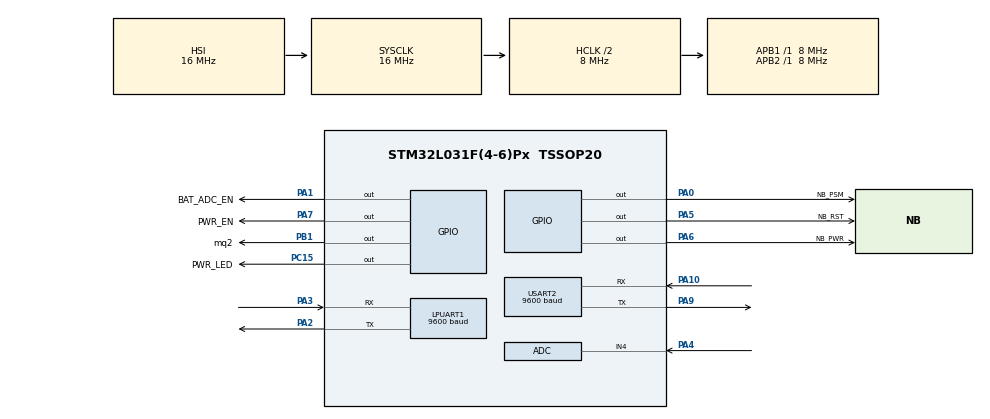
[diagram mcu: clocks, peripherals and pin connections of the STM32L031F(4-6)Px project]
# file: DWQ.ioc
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ADC.ContinuousConvMode=ENABLE
ADC.LowPowerAutoPowerOff=ENABLE
ADC.LowPowerAutoWait=ENABLE
ADC.SamplingTime=ADC_SAMPLETIME_160CYCLES_5
LPUART1.BaudRate=9600
LPUART1.WordLength=UART_WORDLENGTH_8B
Mcu.Family=STM32L0
Mcu.Name=STM32L031F(4-6)Px
Mcu.Package=TSSOP20
NVIC.LPUART1_IRQn=true\:0\:0\:false\:false\:true\:true\:true\:true
NVIC.USART2_IRQn=true\:0\:0\:false\:false\:true\:true\:true\:true
PA0-CK_IN.GPIO_Label=NB_PSM
PA0-CK_IN.Signal=GPIO_Output
PA1.GPIO_Label=BAT_ADC_EN
PA1.Signal=GPIO_Output
PA10.Mode=Asynchronous
PA10.Signal=USART2_RX
PA13.Mode=Serial_Wire
PA13.Signal=SYS_SWDIO
PA14.Mode=Serial_Wire
PA14.Signal=SYS_SWCLK
PA2.Mode=Asynchronous
PA2.Signal=LPUART1_TX
PA3.Mode=Asynchronous
PA3.Signal=LPUART1_RX
PA4.Mode=IN4
PA4.Signal=ADC_IN4
PA5.GPIO_Label=NB_RST
PA5.Signal=GPIO_Output
PA6.GPIO_Label=NB_PWR
PA6.Signal=GPIO_Output
PA7.GPIO_Label=PWR_EN
PA7.GPIO_PuPd=GPIO_PULLDOWN
PA7.GPIO_Speed=GPIO_SPEED_FREQ_MEDIUM
PA7.Signal=GPIO_Output
PA9.Mode=Asynchronous
PA9.Signal=USART2_TX
PB1.GPIO_Label=mq2
PB1.GPIO_ModeDefaultOutputPP=GPIO_MODE_OUTPUT_OD
PB1.GPIO_PuPd=GPIO_NOPULL
PB1.PinState=GPIO_PIN_SET
PB1.Signal=GPIO_Output
PC15-OSC32_OUT.GPIO_Label=PWR_LED
PC15-OSC32_OUT.GPIO_Speed=GPIO_SPEED_FREQ_LOW
PC15-OSC32_OUT.PinState=GPIO_PIN_SET
PC15-OSC32_OUT.Signal=GPIO_Output
ProjectManager.HeapSize=0x200
ProjectManager.StackSize=0x400
ProjectManager.TargetToolchain=MDK-ARM V5.27
RCC.AHBCLKDivider=RCC_SYSCLK_DIV2
RCC.AHBFreq_Value=8000000
RCC.APB1Freq_Value=8000000
RCC.APB1TimFreq_Value=8000000
RCC.APB2Freq_Value=8000000
RCC.APB2TimFreq_Value=8000000
RCC.HCLKFreq_Value=8000000
RCC.HSE_VALUE=8000000
RCC.HSI16_VALUE=16000000
RCC.HSI_VALUE=16000000
RCC.LSE_VALUE=32768
RCC.MSI_VALUE=2097000
RCC.SYSCLKFreq_VALUE=16000000
RCC.SYSCLKSource=RCC_SYSCLKSOURCE_HSI
RCC.VCOOutputFreq_Value=48000000
USART2.BaudRate=9600
USART2.VirtualMode-Asynchronous=VM_ASYNC
VP_ADC_Vref_Input.Mode=IN-Vrefint
board=custom

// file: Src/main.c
/* USER CODE BEGIN Header */
/**
  ******************************************************************************
  * @file           : main.c
  * @brief          : Main program body
  ******************************************************************************
  * @attention
  *
  * <h2><center>&copy; Copyright (c) 2020 STMicroelectronics.
  * All rights reserved.</center></h2>
  *
  * This software component is licensed by ST under BSD 3-Clause license,
  * the "License"; You may not use this file except in compliance with the
  * License. You may obtain a copy of the License at:
  *                        opensource.org/licenses/BSD-3-Clause
  *
  ******************************************************************************
  */
/* USER CODE END Header */

#include "main.h"

/* USER CODE BEGIN Includes */
#include "stdio.h"
#include "string.h"
/* USER CODE END Includes */

ADC_HandleTypeDef hadc;

UART_HandleTypeDef hlpuart1;
UART_HandleTypeDef huart2;

/* USER CODE BEGIN PV */
extern uint8_t Res2_Buf[256];
extern uint8_t Res2_Sign;
extern uint8_t Res2_Count;
extern uint8_t Res2;
extern uint8_t flg;

extern uint8_t Res1_Buf[256];
extern uint8_t Res1_Sign;
extern uint8_t Res1_Count;
extern uint8_t Res1;

uint16_t BAT_DATA;
float BAT_Value;
float VDDA_Value;
uint16_t VREFINT_CAL;
uint16_t VREFINT_DATA;
uint8_t BAT_Q;
uint8_t BAT_Q_Last;
uint8_t flg_last;
uint8_t NB_Signal_Value;

uint8_t NB_OBSERVERSP_CMD[50]="AT+MIPLOBSERVERSP=0,";
uint8_t NB_DISCOVERRSP_CMD[50]="AT+MIPLDISCOVERRSP=0,";
uint8_t NB_NOTIFY5700_CMD[60]="AT+MIPLNOTIFY=0,"; // 电池电量
uint8_t NB_NOTIFY5701_CMD[60]="AT+MIPLNOTIFY=0,"; // 烟雾程度
uint8_t NB_NOTIFY5513_CMD[60]="AT+MIPLNOTIFY=0,"; // 纬度
uint8_t NB_NOTIFY5514_CMD[60]="AT+MIPLNOTIFY=0,"; // 经度
uint8_t NB_NOTIFY_CMD[60]="AT+MIPLNOTIFY=0,"; // 经度

uint8_t NB_OB3320_count; // 响应订阅请求的ID值位数
uint8_t NB_OB3336_count;
uint8_t NB_OB3325_count;
uint8_t onenet_ok=0;
uint32_t temp_int;
float temp_float;
uint32_t weidu_int; // 获取纬度的dd
float weidu_float; // 获取纬度的mm
uint32_t jingdu_int; // 获取经度的dd
float jingdu_float; // 获取经度的mm
uint8_t shutdown=0;
/* USER CODE END PV */

void SystemClock_Config(void);
static void MX_GPIO_Init(void);
static void MX_ADC_Init(void);
static void MX_LPUART1_UART_Init(void);
static void MX_USART2_UART_Init(void);
/* USER CODE BEGIN PFP */
void Get_BAT_Value(void);
uint8_t Send_Cmd(uint8_t *cmd, uint8_t len, char *recdata);
void NB_Rec_Handle(void);
void Mq2_State(void);
/* USER CODE END PFP */

/* USER CODE BEGIN 0 */
int fputc(int ch, FILE *f)
{
	while((USART2->ISR&0X40)==0);
	USART2->TDR=(uint8_t)ch;
	return ch;
}
/* USER CODE END 0 */

int main(void)
{
  /* USER CODE BEGIN 1 */
	uint16_t main_count=0;
	uint8_t i=0;
	float temp;
  /* USER CODE END 1 */

  /* MCU Configuration--------------------------------------------------------*/

  /* Reset of all peripherals, Initializes the Flash interface and the Systick. */
  HAL_Init();

  /* Configure the system clock */
  SystemClock_Config();

  /* Initialize all configured peripherals */
  MX_GPIO_Init();
  MX_ADC_Init();
  MX_LPUART1_UART_Init();
  MX_USART2_UART_Init();
  /* USER CODE BEGIN 2 */
	HAL_GPIO_WritePin(PWR_LED_GPIO_Port, PWR_LED_Pin, GPIO_PIN_RESET); // 点亮电源指示灯
	HAL_GPIO_WritePin(GPIOA, PWR_EN_Pin, GPIO_PIN_SET); // 保持电源
	HAL_GPIO_WritePin(GPIOA, NB_PWR_Pin, GPIO_PIN_SET); // 让BC20模组开机
	HAL_Delay(600);
	HAL_GPIO_WritePin(GPIOA, NB_PWR_Pin, GPIO_PIN_RESET);
	HAL_GPIO_WritePin(GPIOA, NB_RST_Pin, GPIO_PIN_SET); // 让BC20模组开机
	HAL_Delay(60);
	HAL_GPIO_WritePin(GPIOA, NB_RST_Pin, GPIO_PIN_RESET);
	HAL_Delay(10000);
	// 验证BC20是否正常

	while(Send_Cmd((uint8_t *)"AT\r\n", 4, "OK")!=0)
	{
		HAL_Delay(1000);
	}
	printf("BC20模组正常\r\n");
	// 关闭回显
	while(Send_Cmd((uint8_t *)"ATE0\r\n", 6, "OK")!=0)
	{
		HAL_Delay(1000);
	}
	printf("已经关闭回显\r\n");
	// 检测信号
	NB_Signal_Value=0;
	while((NB_Signal_Value==0)||(NB_Signal_Value==99))
	{
		if(Send_Cmd((uint8_t *)"AT+CSQ\r\n", 8, "OK")==0)
		{
			if(Res1_Buf[2]=='+')
			{
				if(Res1_Buf[9]==',')// 信号值是个位数
				{
					NB_Signal_Value=Res1_Buf[8]-0x30;
				}
				else if(Res1_Buf[10]==',')// 信号值是十位数
				{
					NB_Signal_Value=(Res1_Buf[8]-0x30)*10+(Res1_Buf[9]-0x30);
				}
			}
		}
		HAL_Delay(1000);
	}
	printf("NB_Signal_Value=%d\r\n", NB_Signal_Value);
	// 等待EPS网络注册成功
	while(Send_Cmd((uint8_t *)"AT+CEREG?\r\n", 11, "+CEREG: 0,1")!=0)
	{
		HAL_Delay(1000);
	}
	printf("EPS网络注册成功\r\n");
	// 等待PS附着
	while(Send_Cmd((uint8_t *)"AT+CGATT?\r\n", 11, "+CGATT: 1")!=0)
	{
		HAL_Delay(1000);
	}
	printf("PS已附着\r\n");
	// 打开GNSS电源
	while(Send_Cmd((uint8_t *)"AT+QGNSSC=1\r\n", 13, "OK")!=0)
	{
		HAL_Delay(1000);
	}
	printf("GNSS打开命令已发送\r\n");
	HAL_Delay(2000);
	// 检测GNSS电源是否打开
	while(Send_Cmd((uint8_t *)"AT+QGNSSC?\r\n", 12, "+QGNSSC: 1")!=0)
	{
		HAL_Delay(1000);
	}
	printf("GNSS电源已打开\r\n");
	// 创建通信套件实例
	Send_Cmd((uint8_t *)"AT+MIPLCREATE\r\n", 15, "OK");
	HAL_Delay(100);
  // 添加3325对象
	Send_Cmd((uint8_t *)"AT+MIPLADDOBJ=0,3325,1,\"1\",1,0\r\n", 32, "OK");
	// 添加3320对象
	Send_Cmd((uint8_t *)"AT+MIPLADDOBJ=0,3320,1,\"1\",1,0\r\n", 32, "OK");
	// 添加3336对象
	Send_Cmd((uint8_t *)"AT+MIPLADDOBJ=0,3336,1,\"1\",2,0\r\n", 32, "OK");
	HAL_Delay(100);
	// 向OneNET发送注册请求
	Send_Cmd((uint8_t *)"AT+MIPLOPEN=0,86400\r\n", 21, "OK");
  /* USER CODE END 2 */

  /* Infinite loop */
  while (1)
  {

    /* USER CODE BEGIN 3 */
		if(Res2_Sign==1) // 如果电脑发过来数据
		{
			//接收到最后一个字节 再延时10ms
			do{
				Res2++;
				HAL_Delay(1);
			}while(Res2<10);
			//////////////////////////////
			Res2_Sign=0;
			HAL_UART_Transmit(&hlpuart1, Res2_Buf, Res2_Count, 1000);//把接收到的数据发送到NB模组
			Res2_Count=0;
		}
		if(Res1_Sign==1) // 如果BC20模组发来数据
		{
			//接收到最后一个字节 再延时10ms
			do{
				Res1++;
				HAL_Delay(1);
			}while(Res1<10);
			//////////////////////////////
			Res1_Sign=0;
			HAL_UART_Transmit(&huart2, Res1_Buf, Res1_Count, 1000); // 把接收到的数据发送到串口调试助手
			Res1_Count=0;
			NB_Rec_Handle();
		}
		if(HAL_GPIO_ReadPin(GPIOB, GPIO_PIN_1)==0) // 如果需要关机
		{
			HAL_GPIO_WritePin(PWR_LED_GPIO_Port, PWR_LED_Pin, GPIO_PIN_SET); // 熄灭电源指示灯
			while(HAL_GPIO_ReadPin(GPIOB, GPIO_PIN_1)==0);
			HAL_GPIO_WritePin(GPIOA, PWR_EN_Pin, GPIO_PIN_RESET); // 关闭电源
		}
		main_count++;
		HAL_Delay(0);
		if(main_count>1000)
		{
			main_count=0;
			Get_BAT_Value();
			temp=0;
			for(i=0;i<10;i++)
			{
				Get_BAT_Value();
				temp+=BAT_Value;
			}
			BAT_Value=temp/10;
			if(BAT_Value>4.1)
				BAT_Q=100;
			else if(BAT_Value<3.0)
			{
				BAT_Q=0;
				shutdown++;
				if(shutdown>2)
				{
					HAL_GPIO_WritePin(GPIOA, PWR_EN_Pin, GPIO_PIN_RESET); // 关闭电源
				}
			}
			else
			{
				BAT_Q=100-(4.1-BAT_Value)*100/1.1;
			}
			if(onenet_ok==3) // 如果已经成功注册到ONENET
			{
				Mq2_State();
				NB_NOTIFY5700_CMD[33+NB_OB3320_count]=BAT_Q/100+0x30;
				NB_NOTIFY5700_CMD[34+NB_OB3320_count]=BAT_Q%100/10+0x30;
				NB_NOTIFY5700_CMD[35+NB_OB3320_count]=BAT_Q%10+0x30;
				if(BAT_Q!=BAT_Q_Last) // 如果当前电量和上次的不一样
				{
					Send_Cmd(NB_NOTIFY5700_CMD, 42+NB_OB3320_count, "OK");
					HAL_UART_Transmit(&huart2, NB_NOTIFY5700_CMD, 42+NB_OB3320_count, 1000);
					BAT_Q_Last=BAT_Q;
				}
				HAL_UART_Transmit(&hlpuart1, (uint8_t *)"AT+QGNSSRD=\"NMEA/RMC\"\r\n", 23, 1000);

				HAL_Delay(2000);
				if(flg != flg_last )
				{
					Send_Cmd(NB_NOTIFY5701_CMD, 42+NB_OB3325_count, "OK");
					flg_last = flg;
					HAL_GPIO_WritePin(PWR_EN_GPIO_Port, PWR_EN_Pin, GPIO_PIN_SET);
				}
				HAL_GPIO_WritePin(PWR_EN_GPIO_Port, PWR_EN_Pin, GPIO_PIN_SET);
				HAL_Delay(2000);
				HAL_GPIO_WritePin(PWR_EN_GPIO_Port, PWR_EN_Pin, GPIO_PIN_RESET);

			}
//			printf("BAT_Q=%d\r\n",BAT_Q);
//			printf("BAT_Value=%.2f\r\n",BAT_Value);
		}
  }
  /* USER CODE END 3 */
}

void SystemClock_Config(void)
{
  RCC_OscInitTypeDef RCC_OscInitStruct = {0};
  RCC_ClkInitTypeDef RCC_ClkInitStruct = {0};
  RCC_PeriphCLKInitTypeDef PeriphClkInit = {0};

  /** Configure the main internal regulator output voltage
  */
  __HAL_PWR_VOLTAGESCALING_CONFIG(PWR_REGULATOR_VOLTAGE_SCALE1);
  /** Initializes the CPU, AHB and APB busses clocks
  */
  RCC_OscInitStruct.OscillatorType = RCC_OSCILLATORTYPE_HSI;
  RCC_OscInitStruct.HSIState = RCC_HSI_ON;
  RCC_OscInitStruct.HSICalibrationValue = RCC_HSICALIBRATION_DEFAULT;
  RCC_OscInitStruct.PLL.PLLState = RCC_PLL_NONE;
  if (HAL_RCC_OscConfig(&RCC_OscInitStruct) != HAL_OK)
  {
    Error_Handler();
  }
  /** Initializes the CPU, AHB and APB busses clocks
  */
  RCC_ClkInitStruct.ClockType = RCC_CLOCKTYPE_HCLK|RCC_CLOCKTYPE_SYSCLK
                              |RCC_CLOCKTYPE_PCLK1|RCC_CLOCKTYPE_PCLK2;
  RCC_ClkInitStruct.SYSCLKSource = RCC_SYSCLKSOURCE_HSI;
  RCC_ClkInitStruct.AHBCLKDivider = RCC_SYSCLK_DIV2;
  RCC_ClkInitStruct.APB1CLKDivider = RCC_HCLK_DIV1;
  RCC_ClkInitStruct.APB2CLKDivider = RCC_HCLK_DIV1;

  if (HAL_RCC_ClockConfig(&RCC_ClkInitStruct, FLASH_LATENCY_0) != HAL_OK)
  {
    Error_Handler();
  }
  PeriphClkInit.PeriphClockSelection = RCC_PERIPHCLK_USART2|RCC_PERIPHCLK_LPUART1;
  PeriphClkInit.Usart2ClockSelection = RCC_USART2CLKSOURCE_PCLK1;
  PeriphClkInit.Lpuart1ClockSelection = RCC_LPUART1CLKSOURCE_PCLK1;
  if (HAL_RCCEx_PeriphCLKConfig(&PeriphClkInit) != HAL_OK)
  {
    Error_Handler();
  }
}

static void MX_ADC_Init(void)
{

  /* USER CODE BEGIN ADC_Init 0 */
	uint8_t i=0;
  /* USER CODE END ADC_Init 0 */

  ADC_ChannelConfTypeDef sConfig = {0};

  /** Configure the global features of the ADC (Clock, Resolution, Data Alignment and number of conversion)
  */
  hadc.Instance = ADC1;
  hadc.Init.OversamplingMode = DISABLE;
  hadc.Init.ClockPrescaler = ADC_CLOCK_SYNC_PCLK_DIV2;
  hadc.Init.Resolution = ADC_RESOLUTION_12B;
  hadc.Init.SamplingTime = ADC_SAMPLETIME_160CYCLES_5;
  hadc.Init.ScanConvMode = ADC_SCAN_DIRECTION_FORWARD;
  hadc.Init.DataAlign = ADC_DATAALIGN_RIGHT;
  hadc.Init.ContinuousConvMode = ENABLE;
  hadc.Init.DiscontinuousConvMode = DISABLE;
  hadc.Init.ExternalTrigConvEdge = ADC_EXTERNALTRIGCONVEDGE_NONE;
  hadc.Init.ExternalTrigConv = ADC_SOFTWARE_START;
  hadc.Init.DMAContinuousRequests = DISABLE;
  hadc.Init.EOCSelection = ADC_EOC_SINGLE_CONV;
  hadc.Init.Overrun = ADC_OVR_DATA_PRESERVED;
  hadc.Init.LowPowerAutoWait = ENABLE;
  hadc.Init.LowPowerFrequencyMode = DISABLE;
  hadc.Init.LowPowerAutoPowerOff = ENABLE;
  if (HAL_ADC_Init(&hadc) != HAL_OK)
  {
    Error_Handler();
  }
  /** Configure for the selected ADC regular channel to be converted.
  */
  sConfig.Channel = ADC_CHANNEL_4;
  sConfig.Rank = ADC_RANK_CHANNEL_NUMBER;
  if (HAL_ADC_ConfigChannel(&hadc, &sConfig) != HAL_OK)
  {
    Error_Handler();
  }
  /** Configure for the selected ADC regular channel to be converted.
  */
  sConfig.Channel = ADC_CHANNEL_VREFINT;
  if (HAL_ADC_ConfigChannel(&hadc, &sConfig) != HAL_OK)
  {
    Error_Handler();
  }
  /* USER CODE BEGIN ADC_Init 2 */
	ADC1->CR |= ADC_CR_ADCAL;
	i=0;
	while(((ADC1->ISR&ADC_ISR_EOCAL)!=ADC_ISR_EOCAL)&&(i<10))
	{
		i++;
		HAL_Delay(1);
	}
	if(i==10)
	{
		printf("ADC初始化校准失败！\r\n");
	}
	ADC1->ISR |= ADC_ISR_EOCAL;
	VREFINT_CAL = *(uint16_t*)0x1FF80078;
	ADC1->CR |= ADC_CR_ADSTART;
  /* USER CODE END ADC_Init 2 */

}

static void MX_LPUART1_UART_Init(void)
{

  hlpuart1.Instance = LPUART1;
  hlpuart1.Init.BaudRate = 9600;
  hlpuart1.Init.WordLength = UART_WORDLENGTH_8B;
  hlpuart1.Init.StopBits = UART_STOPBITS_1;
  hlpuart1.Init.Parity = UART_PARITY_NONE;
  hlpuart1.Init.Mode = UART_MODE_TX_RX;
  hlpuart1.Init.HwFlowCtl = UART_HWCONTROL_NONE;
  hlpuart1.Init.OneBitSampling = UART_ONE_BIT_SAMPLE_DISABLE;
  hlpuart1.AdvancedInit.AdvFeatureInit = UART_ADVFEATURE_NO_INIT;
  if (HAL_UART_Init(&hlpuart1) != HAL_OK)
  {
    Error_Handler();
  }
  /* USER CODE BEGIN LPUART1_Init 2 */
	__HAL_UART_ENABLE_IT(&hlpuart1, UART_IT_RXNE);// 打开串口1接收中断
  /* USER CODE END LPUART1_Init 2 */

}

static void MX_USART2_UART_Init(void)
{

  huart2.Instance = USART2;
  huart2.Init.BaudRate = 9600;
  huart2.Init.WordLength = UART_WORDLENGTH_8B;
  huart2.Init.StopBits = UART_STOPBITS_1;
  huart2.Init.Parity = UART_PARITY_NONE;
  huart2.Init.Mode = UART_MODE_TX_RX;
  huart2.Init.HwFlowCtl = UART_HWCONTROL_NONE;
  huart2.Init.OverSampling = UART_OVERSAMPLING_16;
  huart2.Init.OneBitSampling = UART_ONE_BIT_SAMPLE_DISABLE;
  huart2.AdvancedInit.AdvFeatureInit = UART_ADVFEATURE_NO_INIT;
  if (HAL_UART_Init(&huart2) != HAL_OK)
  {
    Error_Handler();
  }
  /* USER CODE BEGIN USART2_Init 2 */
	__HAL_UART_ENABLE_IT(&huart2, UART_IT_RXNE);// 打开串口2接收中断
  /* USER CODE END USART2_Init 2 */

}

static void MX_GPIO_Init(void)
{
  GPIO_InitTypeDef GPIO_InitStruct = {0};

  /* GPIO Ports Clock Enable */
  __HAL_RCC_GPIOC_CLK_ENABLE();
  __HAL_RCC_GPIOA_CLK_ENABLE();
  __HAL_RCC_GPIOB_CLK_ENABLE();

  /*Configure GPIO pin Output Level */
  HAL_GPIO_WritePin(PWR_LED_GPIO_Port, PWR_LED_Pin, GPIO_PIN_SET);

  /*Configure GPIO pin Output Level */
  HAL_GPIO_WritePin(GPIOA, NB_PSM_Pin|BAT_ADC_EN_Pin|NB_RST_Pin|NB_PWR_Pin
                          |PWR_EN_Pin, GPIO_PIN_RESET);

  /*Configure GPIO pin Output Level */
  HAL_GPIO_WritePin(mq2_GPIO_Port, mq2_Pin, GPIO_PIN_SET);

  /*Configure GPIO pin : PWR_LED_Pin */
  GPIO_InitStruct.Pin = PWR_LED_Pin;
  GPIO_InitStruct.Mode = GPIO_MODE_OUTPUT_PP;
  GPIO_InitStruct.Pull = GPIO_NOPULL;
  GPIO_InitStruct.Speed = GPIO_SPEED_FREQ_LOW;
  HAL_GPIO_Init(PWR_LED_GPIO_Port, &GPIO_InitStruct);

  /*Configure GPIO pins : NB_PSM_Pin BAT_ADC_EN_Pin NB_RST_Pin NB_PWR_Pin */
  GPIO_InitStruct.Pin = NB_PSM_Pin|BAT_ADC_EN_Pin|NB_RST_Pin|NB_PWR_Pin;
  GPIO_InitStruct.Mode = GPIO_MODE_OUTPUT_PP;
  GPIO_InitStruct.Pull = GPIO_NOPULL;
  GPIO_InitStruct.Speed = GPIO_SPEED_FREQ_LOW;
  HAL_GPIO_Init(GPIOA, &GPIO_InitStruct);

  /*Configure GPIO pin : PWR_EN_Pin */
  GPIO_InitStruct.Pin = PWR_EN_Pin;
  GPIO_InitStruct.Mode = GPIO_MODE_OUTPUT_PP;
  GPIO_InitStruct.Pull = GPIO_PULLDOWN;
  GPIO_InitStruct.Speed = GPIO_SPEED_FREQ_MEDIUM;
  HAL_GPIO_Init(PWR_EN_GPIO_Port, &GPIO_InitStruct);

  /*Configure GPIO pin : mq2_Pin */
  GPIO_InitStruct.Pin = mq2_Pin;
  GPIO_InitStruct.Mode = GPIO_MODE_OUTPUT_OD;
  GPIO_InitStruct.Pull = GPIO_NOPULL;
  GPIO_InitStruct.Speed = GPIO_SPEED_FREQ_LOW;
  HAL_GPIO_Init(mq2_GPIO_Port, &GPIO_InitStruct);

}

/* USER CODE BEGIN 4 */
void Get_BAT_Value(void)
{
	uint8_t i;

	i=0;
	while(((ADC1->ISR&ADC_ISR_EOC)!=ADC_ISR_EOC)&&(i<10))
	{
		i++;
		HAL_Delay(1);
	}
	if(i==10)
	{
		printf("通道4转换失败！\r\n");
	}
	BAT_DATA = ADC1->DR;
	i=0;
	while(((ADC1->ISR&ADC_ISR_EOC)!=ADC_ISR_EOC)&&(i<10))
	{
		i++;
		HAL_Delay(1);
	}
	if(i==10)
	{
		printf("通道17转换失败！\r\n");
	}
	VREFINT_DATA = ADC1->DR;
	VDDA_Value = 3.0*VREFINT_CAL/VREFINT_DATA;
	BAT_Value=VDDA_Value*BAT_DATA/2048;
}

// cmd :表示要发送的命令
// len :表示命令的字节长度
// recdata :接收的响应是否有这个字符串
// ret : 0正确 1没有接收到响应 2接收到了响应但是不是正确的响应
uint8_t Send_Cmd(uint8_t *cmd, uint8_t len, char *recdata)
{
	uint8_t ret;
	uint16_t count=0;

	memset(Res1_Buf, 0, strlen((const char *)Res1_Buf));
	HAL_UART_Transmit(&hlpuart1, cmd, len, 1000);//把命令发送到NB模组
	while((Res1_Sign==0)&&(count<300))
	{
		count++;
		HAL_Delay(1);
	}
	if(count==300)// 超时
	{
		ret=1; // 未接收到BC20的响应
	}
	else // 接收到了响应
	{
		// 接收到最后一个字节 再延时10ms
		do{
				Res1++;
				HAL_Delay(1);
		}while(Res1<10);
		//////////////////////////////
		HAL_UART_Transmit(&huart2, Res1_Buf, Res1_Count, 1000);//把响应数据发送到电脑
		Res1_Count=0;
		Res1_Sign=0;
		ret=2;
		if(strstr((const char*)Res1_Buf, recdata))// 如果接收到的数据里面有这个字符串
		{
			ret=0; // 正确接收到响应
		}
	}

	return ret;
}
// 处理NB的返回数据
void NB_Rec_Handle(void)
{
	uint8_t i,j;

	if(strstr((const char*)Res1_Buf, "+MIPLOBSERVE:")) // 接收到订阅请求
	{
		if(Res1_Buf[17]==',')
		{
			i=0;
			while(Res1_Buf[18+i]!=',')
			{
				i++;
				if(i>10)
					break;
			}
			if(i>10)
			{
				printf("+MIPLOBSERVE数据接收错误\r\n");
			}
			else
			{
				if(strstr((const char*)Res1_Buf, "3320"))
				{
					for(j=0;j<i;j++)
					{
						NB_OBSERVERSP_CMD[20+j]=Res1_Buf[18+j];
						NB_NOTIFY5700_CMD[16+j]=Res1_Buf[18+j];
					}
					NB_NOTIFY5700_CMD[16+j]=',';
					NB_NOTIFY5700_CMD[17+j]='3';
					NB_NOTIFY5700_CMD[18+j]='3';
					NB_NOTIFY5700_CMD[19+j]='2';
					NB_NOTIFY5700_CMD[20+j]='0';
					NB_NOTIFY5700_CMD[21+j]=',';
					NB_NOTIFY5700_CMD[22+j]='0';
					NB_NOTIFY5700_CMD[23+j]=',';
					NB_NOTIFY5700_CMD[24+j]='5';
					NB_NOTIFY5700_CMD[25+j]='7';
					NB_NOTIFY5700_CMD[26+j]='0';
					NB_NOTIFY5700_CMD[27+j]='0';
					NB_NOTIFY5700_CMD[28+j]=',';
					NB_NOTIFY5700_CMD[29+j]='4';
					NB_NOTIFY5700_CMD[30+j]=',';
					NB_NOTIFY5700_CMD[31+j]='4';
					NB_NOTIFY5700_CMD[32+j]=',';
					NB_NOTIFY5700_CMD[36+j]=',';
					NB_NOTIFY5700_CMD[37+j]='0';
					NB_NOTIFY5700_CMD[38+j]=',';
					NB_NOTIFY5700_CMD[39+j]='0';
					NB_NOTIFY5700_CMD[40+j]='\r';
					NB_NOTIFY5700_CMD[41+j]='\n';
					NB_OB3320_count = j;
				}
				else if(strstr((const char*)Res1_Buf, "3336"))
				{
					for(j=0;j<i;j++)
					{
						NB_OBSERVERSP_CMD[20+j]=Res1_Buf[18+j];
						NB_NOTIFY5513_CMD[16+j]=Res1_Buf[18+j];
						NB_NOTIFY5514_CMD[16+j]=Res1_Buf[18+j];
					}
				  // 5513
					NB_NOTIFY5513_CMD[16+j]=',';
					NB_NOTIFY5513_CMD[17+j]='3';
					NB_NOTIFY5513_CMD[18+j]='3';
					NB_NOTIFY5513_CMD[19+j]='3';
					NB_NOTIFY5513_CMD[20+j]='6';
					NB_NOTIFY5513_CMD[21+j]=',';
					NB_NOTIFY5513_CMD[22+j]='0';
					NB_NOTIFY5513_CMD[23+j]=',';
					NB_NOTIFY5513_CMD[24+j]='5';
					NB_NOTIFY5513_CMD[25+j]='5';
					NB_NOTIFY5513_CMD[26+j]='1';
					NB_NOTIFY5513_CMD[27+j]='3';
					NB_NOTIFY5513_CMD[28+j]=',';
					NB_NOTIFY5513_CMD[29+j]='1';
					NB_NOTIFY5513_CMD[30+j]=',';
					NB_NOTIFY5513_CMD[31+j]='9';
					NB_NOTIFY5513_CMD[32+j]=',';
					NB_NOTIFY5513_CMD[33+j]='\"';
					NB_NOTIFY5513_CMD[43+j]='\"';
					NB_NOTIFY5513_CMD[44+j]=',';
					NB_NOTIFY5513_CMD[45+j]='1';
					NB_NOTIFY5513_CMD[46+j]=',';
					NB_NOTIFY5513_CMD[47+j]='0';
					NB_NOTIFY5513_CMD[48+j]='\r';
					NB_NOTIFY5513_CMD[49+j]='\n';
					// 5514
					NB_NOTIFY5514_CMD[16+j]=',';
					NB_NOTIFY5514_CMD[17+j]='3';
					NB_NOTIFY5514_CMD[18+j]='3';
					NB_NOTIFY5514_CMD[19+j]='3';
					NB_NOTIFY5514_CMD[20+j]='6';
					NB_NOTIFY5514_CMD[21+j]=',';
					NB_NOTIFY5514_CMD[22+j]='0';
					NB_NOTIFY5514_CMD[23+j]=',';
					NB_NOTIFY5514_CMD[24+j]='5';
					NB_NOTIFY5514_CMD[25+j]='5';
					NB_NOTIFY5514_CMD[26+j]='1';
					NB_NOTIFY5514_CMD[27+j]='4';
					NB_NOTIFY5514_CMD[28+j]=',';
					NB_NOTIFY5514_CMD[29+j]='1';
					NB_NOTIFY5514_CMD[30+j]=',';
					NB_NOTIFY5514_CMD[31+j]='1';
					NB_NOTIFY5514_CMD[32+j]='0';
					NB_NOTIFY5514_CMD[33+j]=',';
					NB_NOTIFY5514_CMD[34+j]='\"';
					NB_NOTIFY5514_CMD[45+j]='\"';
					NB_NOTIFY5514_CMD[46+j]=',';
					NB_NOTIFY5514_CMD[47+j]='0';
					NB_NOTIFY5514_CMD[48+j]=',';
					NB_NOTIFY5514_CMD[49+j]='0';
					NB_NOTIFY5514_CMD[50+j]='\r';
					NB_NOTIFY5514_CMD[51+j]='\n';
					NB_OB3336_count = j;
				}
				else if(strstr((const char*)Res1_Buf, "3325"))
				{
					for(j=0;j<i;j++)
					{
						NB_OBSERVERSP_CMD[20+j]=Res1_Buf[18+j];
            NB_NOTIFY5701_CMD[16+j]=Res1_Buf[18+j];
					}
					NB_NOTIFY5701_CMD[16+j]=',';
					NB_NOTIFY5701_CMD[17+j]='3';
					NB_NOTIFY5701_CMD[18+j]='3';
					NB_NOTIFY5701_CMD[19+j]='2';
					NB_NOTIFY5701_CMD[20+j]='5';
					NB_NOTIFY5701_CMD[21+j]=',';
					NB_NOTIFY5701_CMD[22+j]='0';
					NB_NOTIFY5701_CMD[23+j]=',';
					NB_NOTIFY5701_CMD[24+j]='5';
					NB_NOTIFY5701_CMD[25+j]='7';
					NB_NOTIFY5701_CMD[26+j]='0';
					NB_NOTIFY5701_CMD[27+j]='1';
					NB_NOTIFY5701_CMD[28+j]=',';
					NB_NOTIFY5701_CMD[29+j]='1';
					NB_NOTIFY5701_CMD[30+j]=',';
					NB_NOTIFY5701_CMD[31+j]='1';
					NB_NOTIFY5701_CMD[32+j]=',';
					NB_NOTIFY5701_CMD[33+j]='\"';
					NB_NOTIFY5701_CMD[35+j]='\"';
					NB_NOTIFY5701_CMD[36+j]=',';
					NB_NOTIFY5701_CMD[37+j]='0';
					NB_NOTIFY5701_CMD[38+j]=',';
					NB_NOTIFY5701_CMD[39+j]='0';
					NB_NOTIFY5701_CMD[40+j]='\r';
					NB_NOTIFY5701_CMD[41+j]='\n';
					NB_OB3325_count = j;
				}

				NB_OBSERVERSP_CMD[20+j]=',';
				NB_OBSERVERSP_CMD[21+j]='1';
				NB_OBSERVERSP_CMD[22+j]='\r';
				NB_OBSERVERSP_CMD[23+j]='\n';
				Send_Cmd(NB_OBSERVERSP_CMD, 24+j, "OK");
			}
		}
	}
	else if(strstr((const char*)Res1_Buf, "+MIPLDISCOVER:")) //接收到发现资源请求
	{
		if(Res1_Buf[18]==',')
		{
			i=0;
			while(Res1_Buf[19+i]!=',')
			{
				i++;
				if(i>10)
					break;
			}
			if(i>10)
			{
				printf("+MIPLDISCOVER数据接收错误\r\n");
			}
			else
			{
				for(j=0;j<i;j++)
				{
					NB_DISCOVERRSP_CMD[21+j]=Res1_Buf[19+j];
				}
				if(strstr((const char*)Res1_Buf, "3336"))
				{
					NB_DISCOVERRSP_CMD[21+j]=',';
					NB_DISCOVERRSP_CMD[22+j]='1';
					NB_DISCOVERRSP_CMD[23+j]=',';
					NB_DISCOVERRSP_CMD[24+j]='9';
					NB_DISCOVERRSP_CMD[25+j]=',';
					NB_DISCOVERRSP_CMD[26+j]='\"';
					NB_DISCOVERRSP_CMD[27+j]='5';
					NB_DISCOVERRSP_CMD[28+j]='5';
					NB_DISCOVERRSP_CMD[29+j]='1';
					NB_DISCOVERRSP_CMD[30+j]='3';
					NB_DISCOVERRSP_CMD[31+j]=';';
					NB_DISCOVERRSP_CMD[32+j]='5';
					NB_DISCOVERRSP_CMD[33+j]='5';
					NB_DISCOVERRSP_CMD[34+j]='1';
					NB_DISCOVERRSP_CMD[35+j]='4';
					NB_DISCOVERRSP_CMD[36+j]='\"';
					NB_DISCOVERRSP_CMD[37+j]='\r';
					NB_DISCOVERRSP_CMD[38+j]='\n';
					Send_Cmd(NB_DISCOVERRSP_CMD, 39+j, "OK");
					onenet_ok++;
				}
				else if(strstr((const char*)Res1_Buf, "3320"))
				{
					NB_DISCOVERRSP_CMD[21+j]=',';
					NB_DISCOVERRSP_CMD[22+j]='1';
					NB_DISCOVERRSP_CMD[23+j]=',';
					NB_DISCOVERRSP_CMD[24+j]='4';
					NB_DISCOVERRSP_CMD[25+j]=',';
					NB_DISCOVERRSP_CMD[26+j]='\"';
					NB_DISCOVERRSP_CMD[27+j]='5';
					NB_DISCOVERRSP_CMD[28+j]='7';
					NB_DISCOVERRSP_CMD[29+j]='0';
					NB_DISCOVERRSP_CMD[30+j]='0';
					NB_DISCOVERRSP_CMD[31+j]='\"';
					NB_DISCOVERRSP_CMD[32+j]='\r';
					NB_DISCOVERRSP_CMD[33+j]='\n';
					Send_Cmd(NB_DISCOVERRSP_CMD, 34+j, "OK");
					onenet_ok++;
				}
				else if(strstr((const char*)Res1_Buf, "3325"))
				{
					NB_DISCOVERRSP_CMD[21+j]=',';
					NB_DISCOVERRSP_CMD[22+j]='1';
					NB_DISCOVERRSP_CMD[23+j]=',';
					NB_DISCOVERRSP_CMD[24+j]='4';
					NB_DISCOVERRSP_CMD[25+j]=',';
					NB_DISCOVERRSP_CMD[26+j]='\"';
					NB_DISCOVERRSP_CMD[27+j]='5';
					NB_DISCOVERRSP_CMD[28+j]='7';
					NB_DISCOVERRSP_CMD[29+j]='0';
					NB_DISCOVERRSP_CMD[30+j]='1';
					NB_DISCOVERRSP_CMD[31+j]='\"';
					NB_DISCOVERRSP_CMD[32+j]='\r';
					NB_DISCOVERRSP_CMD[33+j]='\n';
					Send_Cmd(NB_DISCOVERRSP_CMD, 34+j, "OK");
					onenet_ok++;
				}
			}
		}
	}
	if(strstr((const char*)Res1_Buf, "+QGNSSRD:")) // 接收到GNSS信息
	{
		if(Res1_Buf[29]=='A') // 如果获取到了经纬度信息
		{
			// +QGNSSRD: $GNRMC,032956.42,A,3748.7157,N,11238.7823,E,0.260,,100520,,,A,V*10
			// 获取纬度
			temp_int=(Res1_Buf[33]-0x30)*100000+(Res1_Buf[34]-0x30)*10000+(Res1_Buf[36]-0x30)*1000+(Res1_Buf[37]-0x30)*100+(Res1_Buf[38]-0x30)*10+(Res1_Buf[39]-0x30); // 487157
			temp_float = (float)temp_int/600000; // 487157/600000=0.811928
			weidu_int = (Res1_Buf[31]-0x30)*10+(Res1_Buf[32]-0x30); // 37
			weidu_float = temp_float+(float)weidu_int; // 37.811928
			weidu_float = weidu_float * 1000000; // 37811928.0
			weidu_int = weidu_float; // 37811928
			NB_NOTIFY5513_CMD[34+NB_OB3336_count]=weidu_int/10000000+0x30; // 3
			NB_NOTIFY5513_CMD[35+NB_OB3336_count]=weidu_int%10000000/1000000+0x30; // 7
			NB_NOTIFY5513_CMD[36+NB_OB3336_count]='.'; // .
			NB_NOTIFY5513_CMD[37+NB_OB3336_count]=weidu_int%1000000/100000+0x30; // 8
			NB_NOTIFY5513_CMD[38+NB_OB3336_count]=weidu_int%100000/10000+0x30; // 1
			NB_NOTIFY5513_CMD[39+NB_OB3336_count]=weidu_int%10000/1000+0x30; // 1
			NB_NOTIFY5513_CMD[40+NB_OB3336_count]=weidu_int%1000/100+0x30; // 9
			NB_NOTIFY5513_CMD[41+NB_OB3336_count]=weidu_int%100/10+0x30; // 2
			NB_NOTIFY5513_CMD[42+NB_OB3336_count]=weidu_int%10+0x30; // 8
			printf("纬度=%d\r\n", weidu_int);
			// 获取经度
			temp_int=(Res1_Buf[46]-0x30)*100000+(Res1_Buf[47]-0x30)*10000+(Res1_Buf[49]-0x30)*1000+(Res1_Buf[50]-0x30)*100+(Res1_Buf[51]-0x30)*10+(Res1_Buf[52]-0x30); // 387823
			temp_float = (float)temp_int/600000; // 387823/600000=0.646372
			jingdu_int = (Res1_Buf[43]-0x30)*100+(Res1_Buf[44]-0x30)*10+(Res1_Buf[45]-0x30); // 112
			jingdu_float = temp_float+(float)jingdu_int; // 112.646372
			jingdu_float = jingdu_float * 1000000; // 112646372.0
			jingdu_int = jingdu_float; // 112646372
			NB_NOTIFY5514_CMD[35+NB_OB3336_count]=jingdu_int/100000000+0x30; // 1
			NB_NOTIFY5514_CMD[36+NB_OB3336_count]=jingdu_int%100000000/10000000+0x30; // 1
			NB_NOTIFY5514_CMD[37+NB_OB3336_count]=jingdu_int%10000000/1000000+0x30; // 2
			NB_NOTIFY5514_CMD[38+NB_OB3336_count]='.'; // .
			NB_NOTIFY5514_CMD[39+NB_OB3336_count]=jingdu_int%1000000/100000+0x30; // 6
			NB_NOTIFY5514_CMD[40+NB_OB3336_count]=jingdu_int%100000/10000+0x30; // 4
			NB_NOTIFY5514_CMD[41+NB_OB3336_count]=jingdu_int%10000/1000+0x30; // 6
			NB_NOTIFY5514_CMD[42+NB_OB3336_count]=jingdu_int%1000/100+0x30; // 3
			NB_NOTIFY5514_CMD[43+NB_OB3336_count]=jingdu_int%100/10+0x30; // 7
			NB_NOTIFY5514_CMD[44+NB_OB3336_count]=jingdu_int%10+0x30; // 2
			printf("经度=%d\r\n", jingdu_int);
			printf("flg = %d\r\n",flg);
			NB_NOTIFY5701_CMD[34+NB_OB3325_count]=flg+0x30;

			// 发送经纬度信息到云平台
			Send_Cmd(NB_NOTIFY5513_CMD, 50+NB_OB3336_count, "OK");
			HAL_UART_Transmit(&huart2, NB_NOTIFY5513_CMD, 50+NB_OB3336_count, 1000);
			Send_Cmd(NB_NOTIFY5514_CMD, 52+NB_OB3336_count, "OK");
			HAL_UART_Transmit(&huart2, NB_NOTIFY5514_CMD, 52+NB_OB3336_count, 1000);
			Send_Cmd(NB_NOTIFY5701_CMD, 42+NB_OB3325_count, "OK");
			HAL_UART_Transmit(&huart2, NB_NOTIFY5701_CMD, 42+NB_OB3325_count, 1000);
		}
	}
}
/* USER CODE END 4 */

void Error_Handler(void)
{
}

/************************ (C) COPYRIGHT STMicroelectronics *****END OF FILE****/
